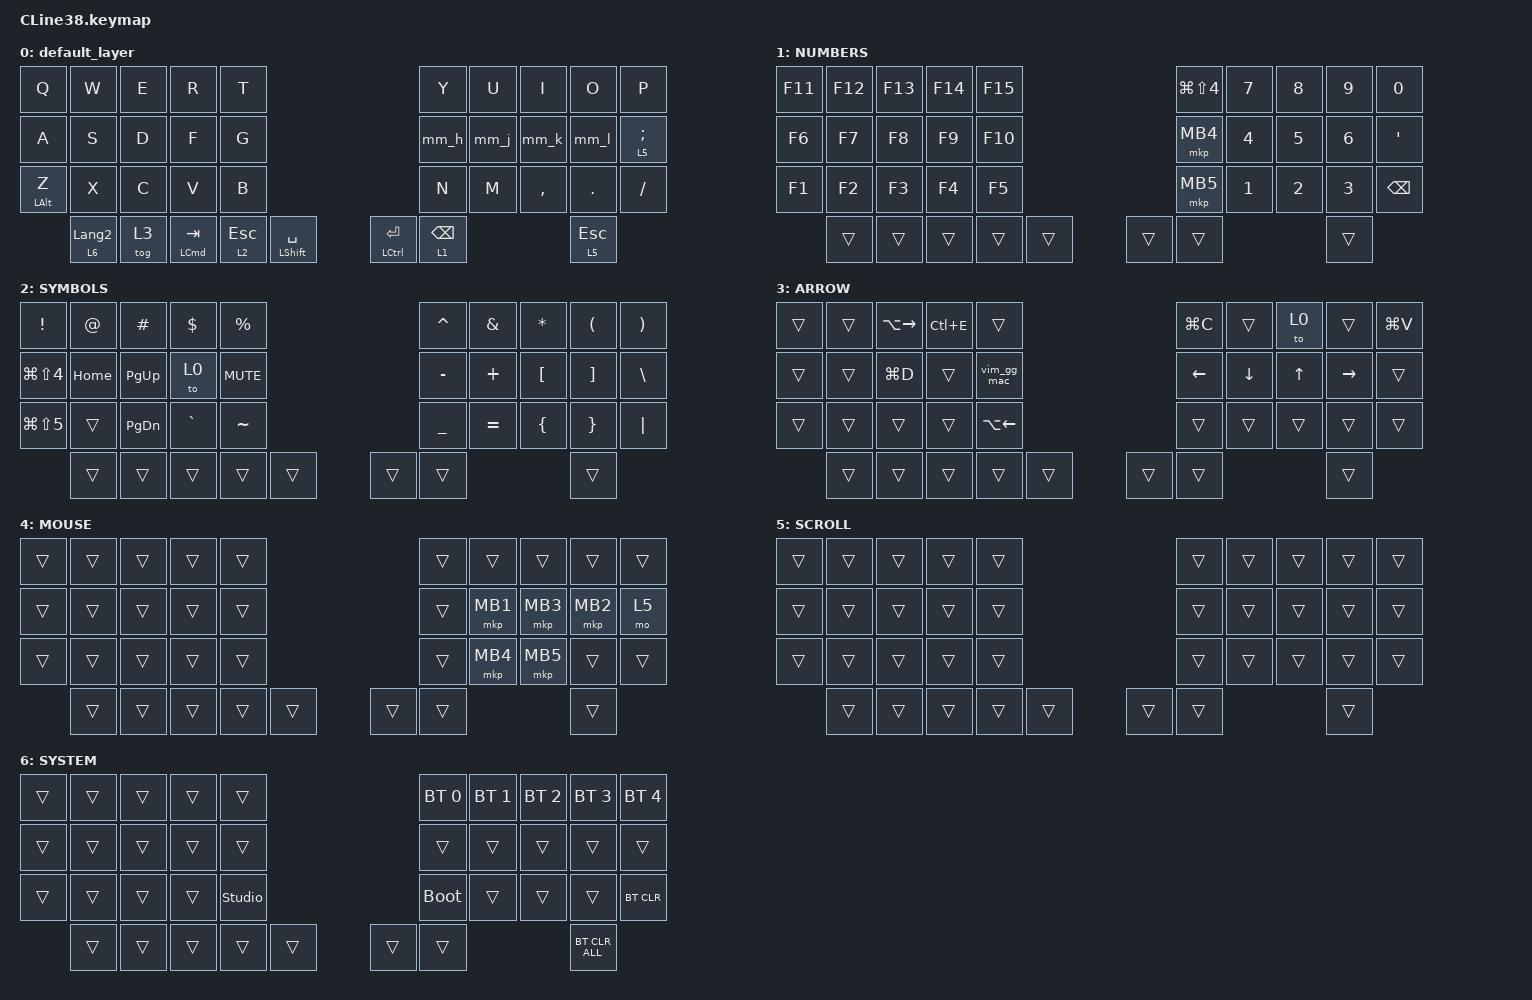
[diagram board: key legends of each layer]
#include <behaviors.dtsi>
#include <behaviors/runtime_macro.dtsi>
#include <dt-bindings/zmk/bt.h>
#include <dt-bindings/zmk/keys.h>
#include <dt-bindings/zmk/pointing.h>

&mt {
    flavor = "balanced";
    quick-tap-ms = <0>;
};

/ {
    combos {
        compatible = "zmk,combos";

        tab {
            bindings = <&kp TAB>;
            key-positions = <11 12>;
        };

        shift_tab {
            bindings = <&kp LS(TAB)>;
            key-positions = <12 13>;
        };

        muhenkan {
            bindings = <&to_layer_0 INT_MUHENKAN>;
            key-positions = <10 11>;
        };

        double_quotation {
            bindings = <&kp DOUBLE_QUOTES>;
            key-positions = <18 19>;
        };

        eq {
            bindings = <&kp EQUAL>;
            key-positions = <22 23>;
        };
    };

    macros {
        to_layer_0: to_layer_0 {
            compatible = "zmk,behavior-macro-one-param";
            #binding-cells = <1>;
            bindings = <&to 0 &macro_param_1to1 &kp MACRO_PLACEHOLDER>;
            label = "TO_LAYER_0";
        };
    };

    behaviors {
        lt_to_layer_0: lt_to_layer_0 {
            compatible = "zmk,behavior-hold-tap";
            label = "LAYER_TAP_TO_0";
            bindings = <&mo>, <&to_layer_0>;

            #binding-cells = <2>;
            tapping-term-ms = <200>;
        };

        vim_gg_mac: vim_gg_mac {
            compatible = "zmk,behavior-tap-dance";
            label = "VIM_GG_MAC";
            #binding-cells = <0>;
            bindings = <&vim_caps LG(UP_ARROW) G>, <&kp LG(LC(DOWN_ARROW))>;

            tapping-term-ms = <200>;
        };

        vim_caps: vim_caps {
            compatible = "zmk,behavior-hold-tap";
            label = "VIM_CAPS";
            bindings = <&kp>, <&kp>;

            #binding-cells = <2>;
            tapping-term-ms = <200>;
        };

        mm_h: mm_h {
            compatible = "zmk,behavior-mod-morph";
            label = "MM_H";
            bindings = <&kp H>, <&kp LEFT_ARROW>;

            #binding-cells = <0>;
            mods = <(MOD_LCTL)>;
        };

        mm_j: mm_j {
            compatible = "zmk,behavior-mod-morph";
            label = "MM_J";
            bindings = <&kp J>, <&kp DOWN_ARROW>;

            #binding-cells = <0>;
            mods = <(MOD_LCTL)>;
        };

        mm_k: mm_k {
            compatible = "zmk,behavior-mod-morph";
            label = "MM_K";
            bindings = <&kp K>, <&kp UP_ARROW>;

            #binding-cells = <0>;
            mods = <(MOD_LCTL)>;
        };

        mm_l: mm_l {
            compatible = "zmk,behavior-mod-morph";
            label = "MM_L";
            bindings = <&kp L>, <&kp RIGHT_ARROW>;

            #binding-cells = <0>;
            mods = <(MOD_LCTL)>;
        };

        ht_letters: ht_letters {
            compatible = "zmk,behavior-hold-tap";
            label = "HT_LETTERS";
            bindings = <&kp>, <&kp>;

            #binding-cells = <2>;
            flavor = "tap-preferred";
            tapping-term-ms = <200>;
            require-prior-idle-ms = <125>;
        };

        ht_thumb: ht_thumb {
            compatible = "zmk,behavior-hold-tap";
            label = "HT_THUMB";
            bindings = <&kp>, <&kp>;

            #binding-cells = <2>;
            tapping-term-ms = <120>;
        };
    };

    keymap {
        compatible = "zmk,keymap";

        default_layer {
            bindings = <
&kp Q                        &kp W   &kp E                       &kp R                    &kp T                                                 &kp Y   &kp U                       &kp I      &kp O    &kp P
&kp A                        &kp S   &kp D                       &kp F                    &kp G                                                 &mm_h   &mm_j                       &mm_k      &mm_l    &lt_to_layer_0 5 SEMICOLON
&ht_letters LEFT_ALT Z       &kp X   &kp C                       &kp V                    &kp B                                                 &kp N   &kp M                       &kp COMMA  &kp DOT  &kp SLASH
&lt_to_layer_0 6 LANGUAGE_2  &tog 3  &ht_thumb LEFT_COMMAND TAB  &lt_to_layer_0 2 ESCAPE  &mt LEFT_SHIFT SPACE    &mt LEFT_CONTROL ENTER        &lt_to_layer_0 1 BACKSPACE                              &lt_to_layer_0 5 ESCAPE
            >;
        };

        NUMBERS {
            bindings = <
&kp F11  &kp F12  &kp F13  &kp F14  &kp F15                      &kp LG(LS(NUMBER_4))  &kp NUMBER_7  &kp NUMBER_8  &kp NUMBER_9  &kp NUMBER_0
&kp F6   &kp F7   &kp F8   &kp F9   &kp F10                      &mkp MB4              &kp NUMBER_4  &kp NUMBER_5  &kp NUMBER_6  &kp SINGLE_QUOTE
&kp F1   &kp F2   &kp F3   &kp F4   &kp F5                       &mkp MB5              &kp NUMBER_1  &kp NUMBER_2  &kp NUMBER_3  &kp BACKSPACE
&trans   &trans   &trans   &trans   &trans    &trans             &trans                                                          &trans
            >;
        };

        SYMBOLS {
            bindings = <
&kp EXCLAMATION       &kp AT_SIGN  &kp HASH       &kp DOLLAR  &kp PERCENT                      &kp CARET       &kp AMPERSAND  &kp ASTERISK      &kp LEFT_PARENTHESIS  &kp RIGHT_PARENTHESIS
&kp LG(LS(NUMBER_4))  &kp HOME     &kp PAGE_UP    &to 0       &kp C_MUTE                       &kp MINUS       &kp PLUS       &kp LEFT_BRACKET  &kp RIGHT_BRACKET     &kp BACKSLASH
&kp LG(LS(NUMBER_5))  &trans       &kp PAGE_DOWN  &kp GRAVE   &kp TILDE                        &kp UNDERSCORE  &kp EQUAL      &kp LEFT_BRACE    &kp RIGHT_BRACE       &kp PIPE
&trans                &trans       &trans         &trans      &trans         &trans            &trans                                                                 &trans
            >;
        };

        ARROW {
            bindings = <
&trans  &trans  &kp LA(RIGHT_ARROW)  &kp LC(E)  &trans                                 &kp LG(C)  &trans          &to 0         &trans           &kp LG(V)
&trans  &trans  &kp LG(D)            &trans     &vim_gg_mac                            &kp LEFT   &kp DOWN_ARROW  &kp UP_ARROW  &kp RIGHT_ARROW  &trans
&trans  &trans  &trans               &trans     &kp LA(LEFT_ARROW)                     &trans     &trans          &trans        &trans           &trans
&trans  &trans  &trans               &trans     &trans              &trans             &trans                                                    &trans
            >;
        };

        MOUSE {
            bindings = <
&trans  &trans  &trans  &trans  &trans                      &trans  &trans    &trans    &trans    &trans
&trans  &trans  &trans  &trans  &trans                      &trans  &mkp MB1  &mkp MB3  &mkp MB2  &mo 5
&trans  &trans  &trans  &trans  &trans                      &trans  &mkp MB4  &mkp MB5  &trans    &trans
&trans  &trans  &trans  &trans  &trans    &trans            &trans                                &trans
            >;
        };

        SCROLL {
            bindings = <
&trans  &trans  &trans  &trans  &trans                      &trans  &trans  &trans  &trans  &trans
&trans  &trans  &trans  &trans  &trans                      &trans  &trans  &trans  &trans  &trans
&trans  &trans  &trans  &trans  &trans                      &trans  &trans  &trans  &trans  &trans
&trans  &trans  &trans  &trans  &trans    &trans            &trans                          &trans
            >;
        };

        SYSTEM {
            bindings = <
&trans  &trans  &trans  &trans  &trans                                &bt BT_SEL 0  &bt BT_SEL 1  &bt BT_SEL 2  &bt BT_SEL 3  &bt BT_SEL 4
&trans  &trans  &trans  &trans  &trans                                &trans        &trans        &trans        &trans        &trans
&trans  &trans  &trans  &trans  &studio_unlock                        &bootloader   &trans        &trans        &trans        &bt BT_CLR
&trans  &trans  &trans  &trans  &trans          &trans                &trans                                                  &bt BT_CLR_ALL
            >;
        };
    };
};
